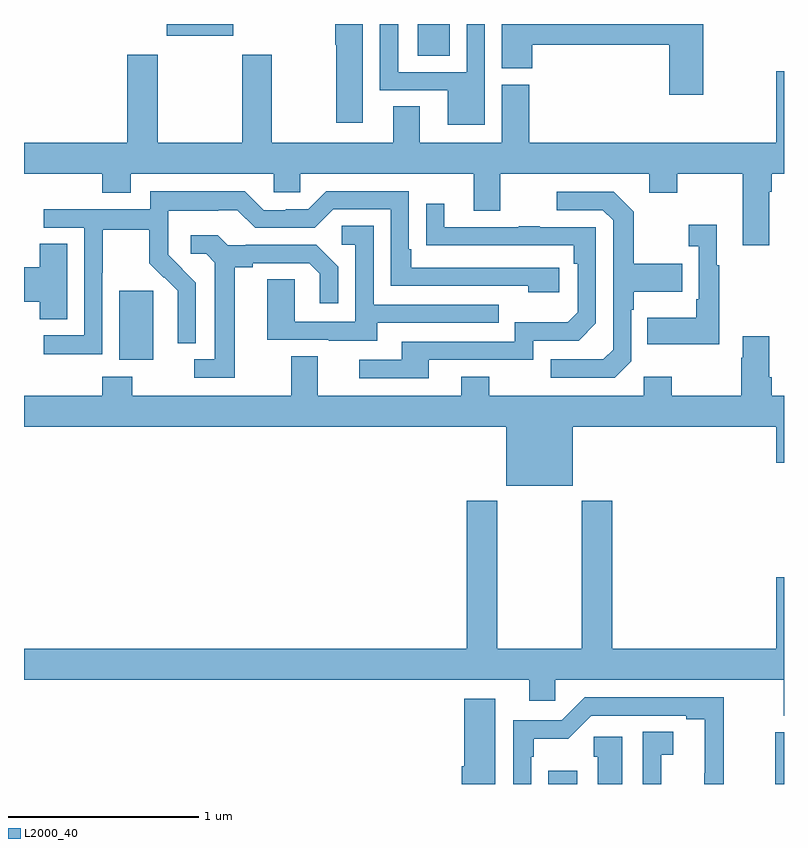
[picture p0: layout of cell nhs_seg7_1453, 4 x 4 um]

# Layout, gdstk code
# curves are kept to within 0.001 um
import gdstk
lib = gdstk.Library(unit=1e-6, precision=1e-09)
def R(c, l, rs):  # rectangles x0, y0, x1, y1
    for r in rs: c.add(gdstk.rectangle(r[:2], r[2:], *l))
def P(c, l, *ps):  # polygons
    for p in ps: c.add(gdstk.Polygon(p, *l))
L2000_40 = (2000, 40)

nhs_seg7_1453 = lib.new_cell('nhs_seg7_1453')
R(nhs_seg7_1453, L2000_40, [(211.76,1068,211.912,1068.07), (212.953,1068,213,1068.273), (209.501,1070.234,209.68,1070.595), (211.073,1071.832,211.24,1072), (209.75,1071.938,210.1,1072)])
P(nhs_seg7_1453, L2000_40, [(210.784,1072),(210.638,1072),(210.638,1071.892),(210.643,1071.892),(210.643,1071.48),(210.784,1071.48)],
  [(211.425,1072),(211.329,1072),(211.329,1071.747),(210.969,1071.747),(210.969,1072),(210.873,1072),(210.873,1071.651),(211.229,1071.651),(211.229,1071.47),(211.425,1071.47)],
  [(212.574,1072),(211.514,1072),(211.514,1071.766),(211.676,1071.766),(211.676,1071.892),(212.396,1071.892),(212.396,1071.627),(212.574,1071.627)],
  [(212.923,1071.116),(212.936,1071.116),(212.936,1071.212),(213,1071.212),(213,1071.751),(212.96,1071.751),(212.96,1071.376),(211.658,1071.376),(211.658,1071.681),(211.514,1071.681),(211.514,1071.376),(211.084,1071.376),(211.084,1071.566),(210.944,1071.566),(210.944,1071.376),(210.303,1071.376),(210.303,1071.838),(210.148,1071.838),(210.148,1071.376),(209.703,1071.376),(209.703,1071.838),(209.543,1071.838),(209.543,1071.376),(209,1071.376),(209,1071.212),(209.411,1071.212),(209.411,1071.113),(209.563,1071.113),(209.563,1071.212),(210.315,1071.212),(210.315,1071.114),(210.453,1071.114),(210.453,1071.212),(211.367,1071.212),(211.367,1071.018),(211.507,1071.018),(211.507,1071.212),(212.291,1071.212),(212.291,1071.113),(212.439,1071.113),(212.439,1071.212),(212.783,1071.212),(212.783,1070.835),(212.923,1070.835)],
  [(209.412,1070.692),(209.415,1070.692),(209.415,1070.916),(209.659,1070.916),(209.659,1070.741),(209.736,1070.664),(209.739,1070.667),(209.81,1070.597),(209.81,1070.474),(209.808,1070.474),(209.808,1070.32),(209.904,1070.32),(209.904,1070.638),(209.758,1070.786),(209.758,1070.883),(209.76,1070.883),(209.76,1071.017),(210.023,1071.017),(210.023,1071.021),(210.123,1071.021),(210.216,1070.928),(210.531,1070.928),(210.627,1071.024),(210.93,1071.024),(210.93,1070.622),(211.655,1070.622),(211.655,1070.588),(211.816,1070.588),(211.816,1070.718),(211.039,1070.718),(211.039,1070.815),(211.026,1070.815),(211.026,1071.12),(210.591,1071.12),(210.495,1071.024),(210.377,1071.024),(210.377,1071.021),(210.261,1071.021),(210.161,1071.121),(209.664,1071.121),(209.664,1071.024),(209.103,1071.024),(209.103,1070.928),(209.316,1070.928),(209.316,1070.361),(209.103,1070.361),(209.103,1070.263),(209.412,1070.263)],
  [(212.196,1070.226),(212.196,1070.495),(212.209,1070.495),(212.209,1070.591),(212.465,1070.591),(212.465,1070.739),(212.209,1070.739),(212.209,1071.011),(212.103,1071.117),(211.803,1071.117),(211.803,1071.021),(212.046,1071.021),(212.1,1070.967),(212.1,1070.286),(212.049,1070.235),(211.773,1070.235),(211.773,1070.139),(212.109,1070.139)],
  [(211.129,1070.232),(211.68,1070.232),(211.68,1070.334),(211.92,1070.334),(212.01,1070.424),(212.01,1070.931),(211.715,1070.931),(211.715,1070.936),(211.603,1070.936),(211.603,1070.931),(211.213,1070.931),(211.213,1071.055),(211.117,1071.055),(211.117,1070.836),(211.894,1070.835),(211.894,1070.738),(211.914,1070.738),(211.914,1070.484),(211.861,1070.431),(211.584,1070.431),(211.584,1070.328),(210.989,1070.328),(210.989,1070.232),(210.765,1070.232),(210.765,1070.136),(211.129,1070.136)],
  [(212.659,1070.731),(212.647,1070.731),(212.647,1070.944),(212.499,1070.944),(212.499,1070.831),(212.55,1070.831),(212.55,1070.551),(212.538,1070.551),(212.538,1070.455),(212.281,1070.455),(212.281,1070.315),(212.659,1070.315)],
  [(210.859,1070.427),(211.499,1070.427),(211.499,1070.523),(210.84,1070.523),(210.84,1070.939),(210.672,1070.939),(210.672,1070.838),(210.744,1070.838),(210.744,1070.433),(210.426,1070.433),(210.426,1070.657),(210.281,1070.657),(210.281,1070.337),(210.605,1070.337),(210.605,1070.333),(210.859,1070.333)],
  [(210.109,1070.72),(210.205,1070.72),(210.205,1070.742),(210.5,1070.742),(210.557,1070.685),(210.557,1070.529),(210.654,1070.529),(210.654,1070.722),(210.538,1070.838),(210.166,1070.838),(210.166,1070.835),(210.072,1070.835),(210.02,1070.887),(209.877,1070.887),(209.877,1070.79),(209.958,1070.79),(210.005,1070.743),(210.005,1070.235),(209.895,1070.235),(209.895,1070.139),(210.109,1070.139)],
  [(209.227,1070.843),(209.084,1070.843),(209.084,1070.72),(209,1070.72),(209,1070.537),(209.084,1070.537),(209.084,1070.446),(209.227,1070.446)],
  [(211.888,1069.88),(212.96,1069.88),(212.96,1069.692),(213,1069.692),(213,1070.044),(212.936,1070.044),(212.936,1070.14),(212.923,1070.14),(212.923,1070.356),(212.783,1070.356),(212.783,1070.243),(212.776,1070.243),(212.776,1070.044),(212.409,1070.044),(212.409,1070.143),(212.262,1070.143),(212.262,1070.044),(211.449,1070.044),(211.449,1070.143),(211.301,1070.143),(211.301,1070.044),(210.547,1070.044),(210.547,1070.252),(210.407,1070.252),(210.407,1070.044),(209.571,1070.044),(209.571,1070.143),(209.411,1070.143),(209.411,1070.044),(209,1070.044),(209,1069.88),(211.538,1069.88),(211.538,1069.571),(211.888,1069.571)],
  [(213,1069.087),(212.96,1069.087),(212.96,1068.712),(212.096,1068.712),(212.096,1069.492),(211.936,1069.492),(211.936,1068.712),(211.491,1068.712),(211.491,1069.492),(211.331,1069.492),(211.331,1068.712),(209,1068.712),(209,1068.548),(211.658,1068.548),(211.658,1068.438),(211.797,1068.438),(211.797,1068.548),(212.998,1068.548),(212.998,1068.358),(213,1068.358)],
  [(211.671,1068.143),(211.684,1068.143),(211.684,1068.239),(211.865,1068.239),(211.986,1068.36),(212.486,1068.36),(212.486,1068.34),(212.582,1068.34),(212.581,1068),(212.684,1068),(212.684,1068.456),(211.95,1068.456),(211.83,1068.336),(211.575,1068.336),(211.575,1068),(211.671,1068)],
  [(211.48,1068.448),(211.316,1068.448),(211.316,1068.094),(211.304,1068.094),(211.304,1068),(211.48,1068)],
  [(212.355,1068.155),(212.416,1068.155),(212.416,1068.275),(212.256,1068.275),(212.256,1068),(212.355,1068)],
  [(212.149,1068.25),(211.999,1068.25),(211.999,1068.144),(212.021,1068.144),(212.021,1068),(212.149,1068)])

lib.write_gds('nhs_seg7_1453.gds')
